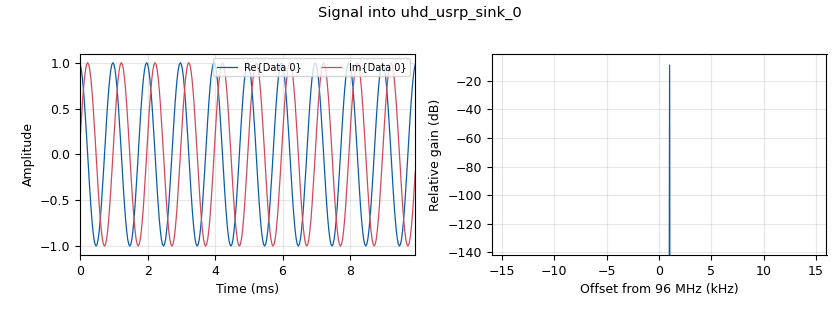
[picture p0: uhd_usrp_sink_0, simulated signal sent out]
<?xml version='1.0' encoding='utf-8'?>
<?grc format='1' created='3.7.13'?>
<flow_graph>
<block>
<key>options</key>
<param><key>id</key><value>Jamming</value></param>
<param><key>author</key><value>Luis Miguel Diaz</value></param>
<param><key>description</key><value>Esta senal se usa para interferir con emisiones clandestinas y realizar ataques DoS al sistema de radiodifusion</value></param>
<param><key>generate_options</key><value>no_gui</value></param>
<param><key>title</key><value>senal de tono para bloquear el espectro</value></param>
</block>
<block>
<key>variable</key>
<param><key>id</key><value>freq</value></param>
<param><key>value</key><value>96000000</value></param>
</block>
<block>
<key>variable</key>
<param><key>id</key><value>gain</value></param>
<param><key>value</key><value>70</value></param>
</block>
<block>
<key>variable</key>
<param><key>id</key><value>samp_rate</value></param>
<param><key>value</key><value>32000</value></param>
</block>
<block>
<key>analog_sig_source_x</key>
<param><key>id</key><value>analog_sig_source_x_0</value></param>
<param><key>amp</key><value>1</value></param>
<param><key>freq</key><value>1000</value></param>
<param><key>offset</key><value>0</value></param>
<param><key>type</key><value>complex</value></param>
<param><key>samp_rate</key><value>samp_rate</value></param>
<param><key>waveform</key><value>analog.GR_COS_WAVE</value></param>
</block>
<block>
<key>uhd_usrp_sink</key>
<param><key>id</key><value>uhd_usrp_sink_0</value></param>
<param><key>ant0</key><value>TX/RX</value></param>
<param><key>center_freq0</key><value>freq</value></param>
<param><key>norm_gain0</key><value>False</value></param>
<param><key>gain0</key><value>gain</value></param>
<param><key>clock_rate</key><value>0.0</value></param>
<param><key>dev_args</key><value>""</value></param>
<param><key>type</key><value>fc32</value></param>
<param><key>samp_rate</key><value>samp_rate</value></param>
<param><key>hide_cmd_port</key><value>False</value></param>
<param><key>hide_lo_controls</key><value>True</value></param>
<param><key>sync</key><value></value></param>
<param><key>len_tag_name</key><value></value></param>
</block>
<connection><source_block_id>analog_sig_source_x_0</source_block_id><sink_block_id>uhd_usrp_sink_0</sink_block_id><source_key>0</source_key><sink_key>0</sink_key></connection>
</flow_graph>
